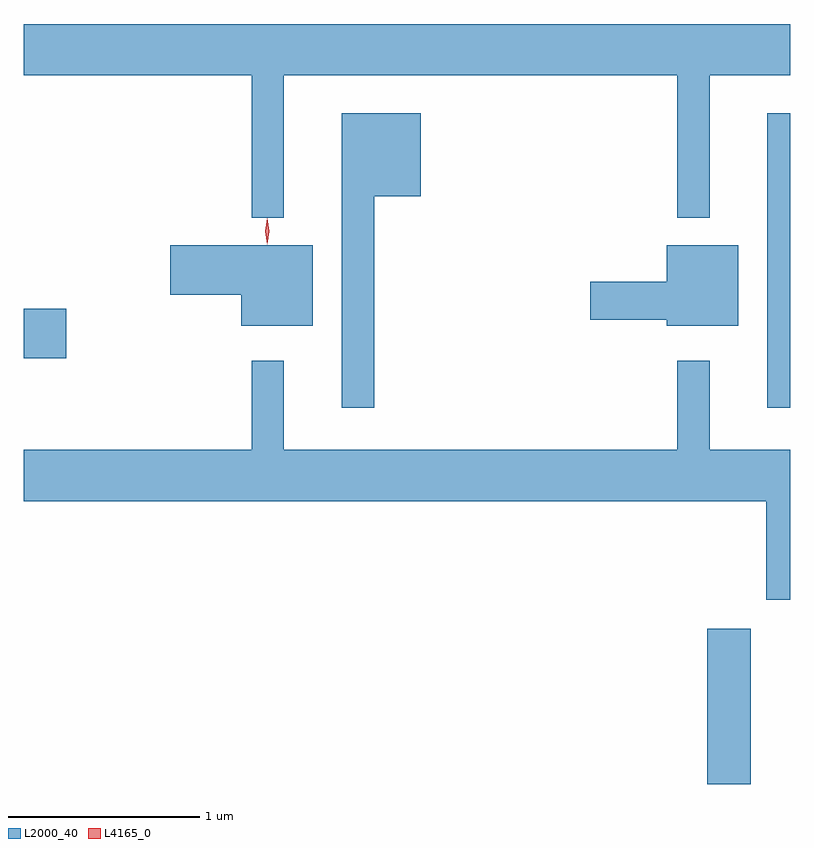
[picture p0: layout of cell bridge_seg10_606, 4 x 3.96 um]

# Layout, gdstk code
import gdstk
lib = gdstk.Library(unit=1e-6, precision=1e-09)
def R(c, l, rs):  # rectangles x0, y0, x1, y1
    for r in rs: c.add(gdstk.rectangle(r[:2], r[2:], *l))
def P(c, l, *ps):  # polygons
    for p in ps: c.add(gdstk.Polygon(p, *l))
L2000_40 = (2000, 40)
L4165_0 = (4165, 0)

bridge_seg10_606 = lib.new_cell('bridge_seg10_606')
R(bridge_seg10_606, L2000_40, [(752.376,2096.9,752.604,2097.709), (752.691,2098.863,752.811,2100.399), (748.811,2099.121,749.034,2099.379)])
P(bridge_seg10_606, L2000_40, [(750.169,2100.596),(752.221,2100.596),(752.221,2099.853),(752.389,2099.853),(752.389,2100.596),(752.811,2100.596),(752.811,2100.864),(748.811,2100.864),(748.811,2100.596),(750.001,2100.596),(750.001,2099.853),(750.169,2099.853)],
  [(750.639,2099.966),(750.884,2099.966),(750.884,2100.399),(750.471,2100.399),(750.471,2098.863),(750.639,2098.863)],
  [(752.539,2099.709),(752.166,2099.709),(752.166,2099.519),(751.766,2099.519),(751.766,2099.321),(752.166,2099.321),(752.166,2099.291),(752.539,2099.291)],
  [(750.319,2099.709),(749.576,2099.709),(749.576,2099.451),(749.946,2099.451),(749.946,2099.291),(750.319,2099.291)],
  [(752.811,2098.644),(752.389,2098.644),(752.389,2099.108),(752.221,2099.108),(752.221,2098.644),(750.169,2098.644),(750.169,2099.108),(750.001,2099.108),(750.001,2098.644),(748.811,2098.644),(748.811,2098.376),(752.686,2098.376),(752.686,2097.861),(752.811,2097.861)])
P(bridge_seg10_606, L4165_0, [(750.082,2099.72),(750.082,2099.72),(750.072,2099.783),(750.082,2099.846),(750.082,2099.847),(750.083,2099.846),(750.092,2099.783),(750.083,2099.72)],
  [(750.082,2099.714),(750.082,2099.714),(750.072,2099.782),(750.082,2099.85),(750.082,2099.85),(750.083,2099.85),(750.092,2099.782),(750.083,2099.714)])

lib.write_gds('bridge_seg10_606.gds')
